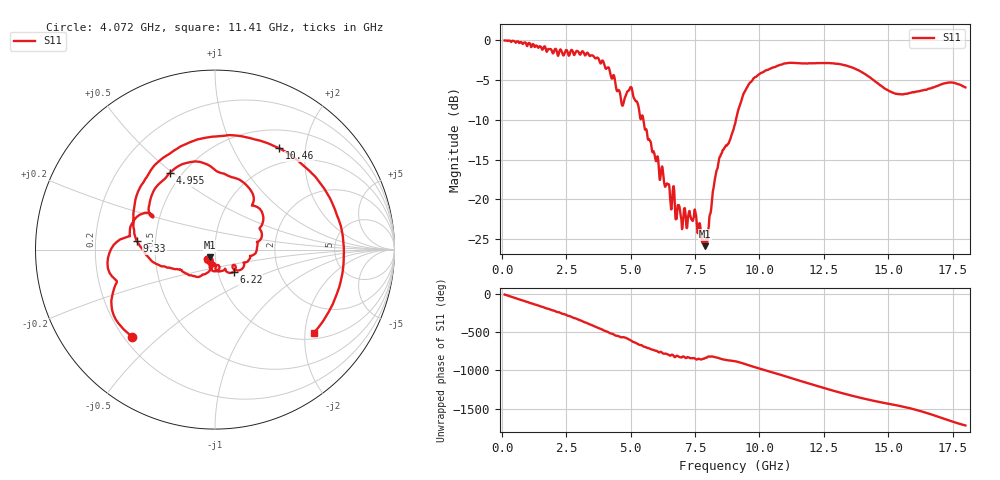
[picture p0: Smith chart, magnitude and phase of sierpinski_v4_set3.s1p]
!Keysight Technologies,N5222B,MY60213399,A.14.00.23
!Date: Monday, June 05, 2023 21:52:23
!Correction: S11(C  1-Port  )
!S1P File: Measurement: :
# Hz S  dB  R 50
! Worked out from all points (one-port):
!   1601 points, 100 MHz to 18 GHz, reference 50 ohm
!   lowest |S11| = -25.9 dB at 7.875 GHz (marker M1), VSWR 1.11, Z = 47.1 - j4.02 ohm
!   |S11| at or under -10 dB: 5.491 GHz to 9.083 GHz (3.592 GHz wide, 49.3 % of centre)
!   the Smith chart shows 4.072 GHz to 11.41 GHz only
!   S11 on the Smith chart (normalised r, x): 4.072 GHz: 0.23, -0.41; 4.955 GHz: 0.43, +0.49; 6.22 GHz: 1.19, -0.30; 9.33 GHz: 0.39, +0.05; 10.46 GHz: 0.76, +1.55; 11.41 GHz: 1.15, -2.23
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1e8  -0.01 -11.1
7.93625e8  -0.42 -88.4
1.431312e9  -0.84 -157.0
1.84525e9  -1.09 156.6
2.3375e9  -1.57 98.5
2.717875e9  -1.21 53.6
3.154188e9  -1.43 -5.0
3.63525e9  -2.27 -71.8
4.071562e9  -3.47 -133.7
4.575e9  -6.51 157.3
4.955375e9  -6.09 120.6
5.414062e9  -9.72 48.5
6.219562e9  -15.86 -50.1
6.8125e9  -21.18 -90.8
7.875312e9  -25.89 -123.0
9.05e9  -10.53 -161.7
9.329688e9  -7.20 173.9
1.045962e10  -3.49 57.5
1.12875e10  -2.83 -27.2
1.141056e10  -2.85 -40.1
1.198112e10  -2.90 -98.6
1.260762e10  -2.85 -161.1
1.3525e10  -3.31 114.5
1.453188e10  -5.25 35.2
1.57625e10  -6.69 -48.0
1.643375e10  -6.21 -110.2
1.704906e10  -5.55 -177.7
1.8e10  -5.91 80.4
